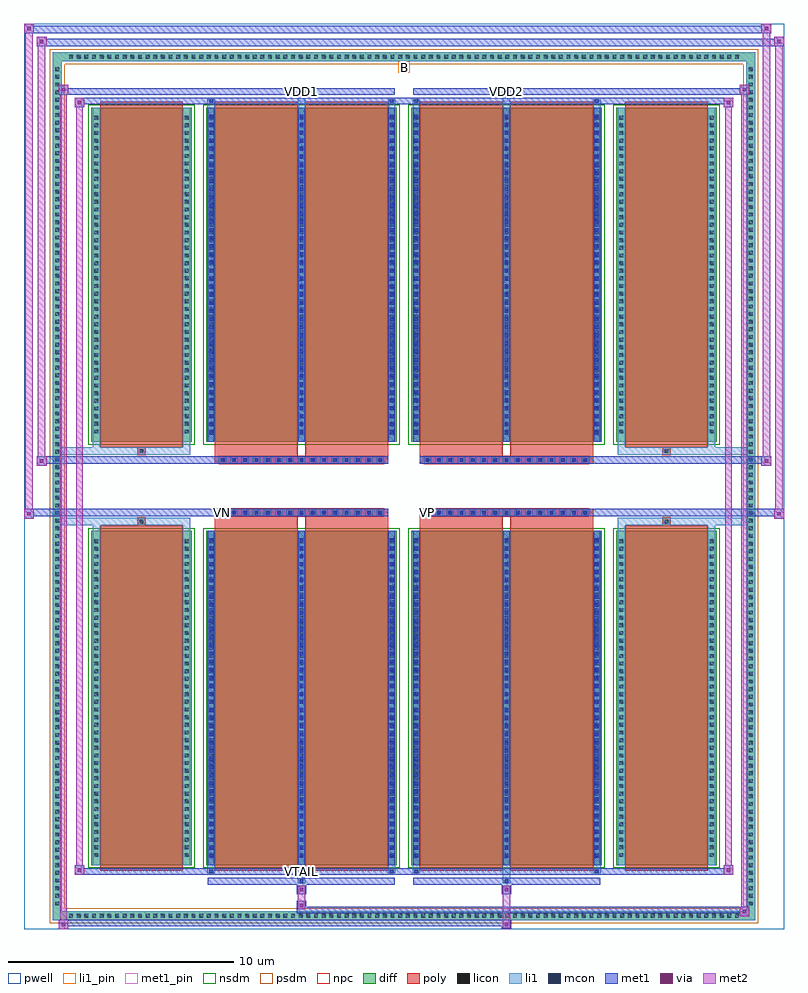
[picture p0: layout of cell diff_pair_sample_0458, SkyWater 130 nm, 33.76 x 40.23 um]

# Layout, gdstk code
import gdstk
lib = gdstk.Library(unit=1e-6, precision=5e-09)
def R(c, l, rs):  # rectangles x0, y0, x1, y1
    for r in rs: c.add(gdstk.rectangle(r[:2], r[2:], *l))
def A(c, l, x, y, w, h, nx, ny, dx, dy):  # array of equal rectangles
    R(c, l, [(x+i*dx, y+j*dy, x+i*dx+w, y+j*dy+h) for i in range(nx) for j in range(ny)])
def P(c, l, *ps):  # polygons
    for p in ps: c.add(gdstk.Polygon(p, *l))
pwell = (64, 44)
diff = (65, 20)
poly = (66, 20)
licon = (66, 44)
li1_pin = (67, 16)
li1 = (67, 20)
mcon = (67, 44)
met1_pin = (68, 16)
met1 = (68, 20)
via = (68, 44)
met2 = (69, 20)
nsdm = (93, 44)
psdm = (94, 20)
npc = (95, 20)

diff_pair_sample_0458 = lib.new_cell('diff_pair_sample_0458')
R(diff_pair_sample_0458, pwell, [(-16.88,-19.68,16.88,20.55), (-14.2,-17.87,-0.01,-0.805), (0.01,-17.87,14.2,-0.805), (-14.2,0.805,-0.01,17.87), (0.01,0.805,14.2,17.87)])
A(diff_pair_sample_0458, diff, -14.995, -19.28, 0.41, 0.41, 88, 2, 0.34, 38.15)
A(diff_pair_sample_0458, diff, -15.61, -18.735, 0.41, 0.41, 1, 110, 0, 0.34)
A(diff_pair_sample_0458, diff, 15.2, -18.735, 0.41, 0.41, 1, 110, 0, 0.34)
R(diff_pair_sample_0458, diff, [(-14.995,-19.28,14.995,-18.87), (-15.61,-18.735,-15.2,18.735), (15.2,-18.735,15.61,18.735), (-13.89,-16.825,-9.43,-1.985), (-8.79,-16.825,-0.32,-1.985), (0.32,-16.825,8.79,-1.985), (9.43,-16.825,13.89,-1.985), (-13.89,1.985,-9.43,16.825), (-8.79,1.985,-0.32,16.825), (0.32,1.985,8.79,16.825), (9.43,1.985,13.89,16.825), (-14.995,18.87,14.995,19.28)])
P(diff_pair_sample_0458, diff, [(15.61,19.28),(-15.61,19.28),(-15.61,-18.87),(-15.2,-18.87),(-15.2,18.87),(15.2,18.87),(15.2,-18.87),(-15.2,-18.87),(-15.61,-18.87),(-15.61,-19.28),(15.61,-19.28)])
A(diff_pair_sample_0458, poly, -8.22, -1.335, 0.33, 0.33, 15, 2, 0.5, 2.34)
A(diff_pair_sample_0458, poly, 0.89, -1.335, 0.33, 0.33, 15, 2, 0.5, 2.34)
R(diff_pair_sample_0458, poly, [(-13.5,-17.075,-9.82,-1.735), (-8.4,-17.075,-4.72,-1.735), (-4.39,-17.075,-0.71,-1.735), (0.71,-17.075,4.39,-1.735), (4.72,-17.075,8.4,-1.735), (9.82,-17.075,13.5,-1.735), (-11.825,-1.735,-11.495,-1.405), (-11.825,-1.735,-11.495,-1.405), (-8.4,-1.735,-4.72,-1.335), (-4.39,-1.735,-0.71,-1.335), (0.71,-1.735,4.39,-1.335), (4.72,-1.735,8.4,-1.335), (11.495,-1.735,11.825,-1.405), (11.495,-1.735,11.825,-1.405), (-8.4,-1.335,-0.71,-1.005), (0.71,-1.335,8.4,-1.005), (-8.4,1.005,-0.71,1.335), (0.71,1.005,8.4,1.335), (-8.4,1.335,-4.72,1.735), (-4.39,1.335,-0.71,1.735), (0.71,1.335,4.39,1.735), (4.72,1.335,8.4,1.735), (-11.825,1.405,-11.495,1.735), (-11.825,1.405,-11.495,1.735), (11.495,1.405,11.825,1.735), (11.495,1.405,11.825,1.735), (-13.5,1.735,-9.82,17.075), (-8.4,1.735,-4.72,17.075), (-4.39,1.735,-0.71,17.075), (0.71,1.735,4.39,17.075), (4.72,1.735,8.4,17.075), (9.82,1.735,13.5,17.075)])
A(diff_pair_sample_0458, licon, -14.875, -19.16, 0.17, 0.17, 88, 2, 0.34, 38.15)
A(diff_pair_sample_0458, licon, -15.49, -18.615, 0.17, 0.17, 1, 110, 0, 0.34)
A(diff_pair_sample_0458, licon, 15.32, -18.615, 0.17, 0.17, 1, 110, 0, 0.34)
A(diff_pair_sample_0458, licon, -13.75, -16.46, 0.17, 0.17, 1, 42, 0, 0.34)
A(diff_pair_sample_0458, licon, -9.74, -16.46, 0.17, 0.17, 1, 42, 0, 0.34)
A(diff_pair_sample_0458, licon, -8.65, -16.46, 0.17, 0.17, 3, 42, 4.01, 0.34)
A(diff_pair_sample_0458, licon, 0.46, -16.46, 0.17, 0.17, 3, 42, 4.01, 0.34)
A(diff_pair_sample_0458, licon, 9.57, -16.46, 0.17, 0.17, 1, 42, 0, 0.34)
A(diff_pair_sample_0458, licon, 13.58, -16.46, 0.17, 0.17, 1, 42, 0, 0.34)
A(diff_pair_sample_0458, licon, -8.14, -1.255, 0.17, 0.17, 15, 2, 0.5, 2.34)
A(diff_pair_sample_0458, licon, 0.97, -1.255, 0.17, 0.17, 15, 2, 0.5, 2.34)
A(diff_pair_sample_0458, licon, -13.75, 2.35, 0.17, 0.17, 1, 42, 0, 0.34)
A(diff_pair_sample_0458, licon, -9.74, 2.35, 0.17, 0.17, 1, 42, 0, 0.34)
A(diff_pair_sample_0458, licon, -8.65, 2.35, 0.17, 0.17, 3, 42, 4.01, 0.34)
A(diff_pair_sample_0458, licon, 0.46, 2.35, 0.17, 0.17, 3, 42, 4.01, 0.34)
A(diff_pair_sample_0458, licon, 9.57, 2.35, 0.17, 0.17, 1, 42, 0, 0.34)
A(diff_pair_sample_0458, licon, 13.58, 2.35, 0.17, 0.17, 1, 42, 0, 0.34)
R(diff_pair_sample_0458, licon, [(-11.745,-1.655,-11.575,-1.485), (11.575,-1.655,11.745,-1.485), (-11.745,1.485,-11.575,1.655), (11.575,1.485,11.745,1.655)])
R(diff_pair_sample_0458, li1_pin, [(-0.25,18.37,0.25,18.87)])
A(diff_pair_sample_0458, li1, -14.955, -19.24, 0.33, 0.33, 88, 2, 0.34, 38.15)
A(diff_pair_sample_0458, li1, -15.57, -18.695, 0.33, 0.33, 1, 110, 0, 0.34)
A(diff_pair_sample_0458, li1, 15.24, -18.695, 0.33, 0.33, 1, 110, 0, 0.34)
A(diff_pair_sample_0458, li1, -8.73, -16.825, 0.33, 14.84, 3, 2, 4.01, 18.81)
A(diff_pair_sample_0458, li1, 0.38, -16.825, 0.33, 14.84, 3, 2, 4.01, 18.81)
A(diff_pair_sample_0458, li1, -13.83, -16.54, 0.33, 0.33, 1, 42, 0, 0.34)
A(diff_pair_sample_0458, li1, -9.82, -16.54, 0.33, 0.33, 1, 42, 0, 0.34)
A(diff_pair_sample_0458, li1, -8.73, -16.54, 0.33, 0.33, 3, 42, 4.01, 0.34)
A(diff_pair_sample_0458, li1, 0.38, -16.54, 0.33, 0.33, 3, 42, 4.01, 0.34)
A(diff_pair_sample_0458, li1, 9.49, -16.54, 0.33, 0.33, 1, 42, 0, 0.34)
A(diff_pair_sample_0458, li1, 13.5, -16.54, 0.33, 0.33, 1, 42, 0, 0.34)
A(diff_pair_sample_0458, li1, -8.65, -16.51, 0.17, 0.17, 3, 40, 4.01, 0.36)
A(diff_pair_sample_0458, li1, -8.65, -16.51, 0.17, 14.21, 3, 2, 4.01, 18.81)
A(diff_pair_sample_0458, li1, 0.46, -16.51, 0.17, 0.17, 3, 40, 4.01, 0.36)
A(diff_pair_sample_0458, li1, 0.46, -16.51, 0.17, 14.21, 3, 2, 4.01, 18.81)
A(diff_pair_sample_0458, li1, -8.22, -1.335, 0.33, 0.33, 15, 2, 0.5, 2.34)
A(diff_pair_sample_0458, li1, 0.89, -1.335, 0.33, 0.33, 15, 2, 0.5, 2.34)
A(diff_pair_sample_0458, li1, -13.83, 2.27, 0.33, 0.33, 1, 42, 0, 0.34)
A(diff_pair_sample_0458, li1, -9.82, 2.27, 0.33, 0.33, 1, 42, 0, 0.34)
A(diff_pair_sample_0458, li1, -8.73, 2.27, 0.33, 0.33, 3, 42, 4.01, 0.34)
A(diff_pair_sample_0458, li1, 0.38, 2.27, 0.33, 0.33, 3, 42, 4.01, 0.34)
A(diff_pair_sample_0458, li1, 9.49, 2.27, 0.33, 0.33, 1, 42, 0, 0.34)
A(diff_pair_sample_0458, li1, 13.5, 2.27, 0.33, 0.33, 1, 42, 0, 0.34)
A(diff_pair_sample_0458, li1, -8.65, 2.3, 0.17, 0.17, 3, 40, 4.01, 0.36)
A(diff_pair_sample_0458, li1, 0.46, 2.3, 0.17, 0.17, 3, 40, 4.01, 0.36)
R(diff_pair_sample_0458, li1, [(-15.61,-19.28,-15.2,-18.87), (-15.61,-19.28,-15.2,-18.87), (-15.2,-19.28,15.2,-18.87), (15.2,-19.28,15.61,-18.87), (15.2,-19.28,15.61,-18.87), (-15.61,-18.87,-15.2,18.87), (15.2,-18.87,15.61,18.87), (-4.72,-17.63,-4.39,-16.825), (-4.64,-17.63,-4.47,-17.46), (4.39,-17.63,4.72,-16.825), (4.47,-17.63,4.64,-17.46), (-8.73,-17.2,-8.4,-16.825), (-8.65,-17.2,-8.48,-17.03), (-0.71,-17.2,-0.38,-16.825), (-0.63,-17.2,-0.46,-17.03), (0.38,-17.2,0.71,-16.825), (0.46,-17.2,0.63,-17.03), (8.4,-17.2,8.73,-16.825), (8.48,-17.2,8.65,-17.03), (-13.83,-16.825,-13.5,-1.985), (-9.82,-16.825,-9.49,-1.985), (9.49,-16.825,9.82,-1.985), (13.5,-16.825,13.83,-1.985), (-13.83,-1.985,-13.5,-1.405), (-9.82,-1.985,-9.49,-1.405), (9.49,-1.985,9.82,-1.405), (13.5,-1.985,13.83,-1.405), (-15.61,-1.735,-11.825,-1.405), (-13.83,-1.735,-11.825,-1.405), (-11.825,-1.735,-11.495,-1.405), (-11.495,-1.735,-9.49,-1.405), (9.49,-1.735,11.495,-1.405), (11.495,-1.735,11.825,-1.405), (11.495,-1.735,15.61,-1.405), (11.825,-1.735,13.83,-1.405), (-15.61,1.405,-11.825,1.735), (-13.83,1.405,-11.825,1.735), (-13.83,1.405,-13.5,1.985), (-11.825,1.405,-11.495,1.735), (-11.495,1.405,-9.49,1.735), (-9.82,1.405,-9.49,1.985), (9.49,1.405,11.495,1.735), (9.49,1.405,9.82,1.985), (11.495,1.405,11.825,1.735), (11.495,1.405,15.61,1.735), (11.825,1.405,13.83,1.735), (13.5,1.405,13.83,1.985), (-13.83,1.985,-13.5,16.825), (-9.82,1.985,-9.49,16.825), (9.49,1.985,9.82,16.825), (13.5,1.985,13.83,16.825), (-8.73,16.825,-8.4,17.2), (-4.72,16.825,-4.39,17.63), (-0.71,16.825,-0.38,17.2), (0.38,16.825,0.71,17.2), (4.39,16.825,4.72,17.63), (8.4,16.825,8.73,17.2), (-8.65,17.03,-8.48,17.2), (-0.63,17.03,-0.46,17.2), (0.46,17.03,0.63,17.2), (8.48,17.03,8.65,17.2), (-4.64,17.46,-4.47,17.63), (4.47,17.46,4.64,17.63), (-15.61,18.87,-15.2,19.28), (-15.61,18.87,-15.2,19.28), (-15.2,18.87,15.2,19.28), (15.2,18.87,15.61,19.28), (15.2,18.87,15.61,19.28)])
A(diff_pair_sample_0458, mcon, -8.65, -16.51, 0.17, 0.17, 3, 40, 4.01, 0.36)
A(diff_pair_sample_0458, mcon, 0.46, -16.51, 0.17, 0.17, 3, 40, 4.01, 0.36)
A(diff_pair_sample_0458, mcon, -8.14, -1.255, 0.17, 0.17, 15, 2, 0.5, 2.34)
A(diff_pair_sample_0458, mcon, 0.97, -1.255, 0.17, 0.17, 15, 2, 0.5, 2.34)
A(diff_pair_sample_0458, mcon, -8.65, 2.3, 0.17, 0.17, 3, 40, 4.01, 0.36)
A(diff_pair_sample_0458, mcon, 0.46, 2.3, 0.17, 0.17, 3, 40, 4.01, 0.36)
R(diff_pair_sample_0458, mcon, [(-4.64,-17.63,-4.47,-17.46), (4.47,-17.63,4.64,-17.46), (-8.65,-17.2,-8.48,-17.03), (-0.63,-17.2,-0.46,-17.03), (0.46,-17.2,0.63,-17.03), (8.48,-17.2,8.65,-17.03), (-8.65,17.03,-8.48,17.2), (-0.63,17.03,-0.46,17.2), (0.46,17.03,0.63,17.2), (8.48,17.03,8.65,17.2), (-4.64,17.46,-4.47,17.63), (4.47,17.46,4.64,17.63)])
R(diff_pair_sample_0458, met1_pin, [(-4.69,-17.24,-4.42,-16.97), (-8.19,-1.295,-7.92,-1.025), (0.92,-1.295,1.19,-1.025), (-4.69,17.42,-4.42,17.69), (4.42,17.42,4.69,17.69)])
A(diff_pair_sample_0458, met1, -8.71, -16.825, 0.29, 14.84, 3, 2, 4.01, 18.81)
A(diff_pair_sample_0458, met1, 0.4, -16.825, 0.29, 14.84, 3, 2, 4.01, 18.81)
A(diff_pair_sample_0458, met1, -8.71, -16.57, 0.29, 0.29, 3, 40, 4.01, 0.36)
A(diff_pair_sample_0458, met1, 0.4, -16.57, 0.29, 0.29, 3, 40, 4.01, 0.36)
A(diff_pair_sample_0458, met1, -8.2, -1.315, 0.29, 0.29, 15, 2, 0.5, 2.34)
A(diff_pair_sample_0458, met1, 0.91, -1.315, 0.29, 0.29, 15, 2, 0.5, 2.34)
A(diff_pair_sample_0458, met1, -8.71, 2.24, 0.29, 0.29, 3, 40, 4.01, 0.36)
A(diff_pair_sample_0458, met1, 0.4, 2.24, 0.29, 0.29, 3, 40, 4.01, 0.36)
R(diff_pair_sample_0458, met1, [(-15.34,-19.68,-14.91,-19.25), (4.34,-19.68,4.77,-19.25), (-15.34,-19.54,4.77,-19.25), (14.91,-19.11,15.34,-18.68), (-4.77,-18.97,15.34,-18.68), (-4.77,-18.83,-4.34,-18.4), (-4.77,-18.12,-4.34,-17.69), (4.34,-18.12,4.77,-17.69), (-8.71,-17.69,-0.4,-17.4), (-4.7,-17.69,-4.41,-17.4), (0.4,-17.69,8.71,-17.4), (4.41,-17.69,4.7,-17.4), (-14.63,-17.26,-14.2,-16.83), (-14.63,-17.26,-8.71,-16.97), (-8.71,-17.26,-8.42,-16.97), (-8.71,-17.26,-0.4,-16.97), (-0.69,-17.26,-0.4,-16.97), (-0.4,-17.26,0.4,-16.97), (0.4,-17.26,0.69,-16.97), (0.4,-17.26,8.71,-16.97), (8.42,-17.26,8.71,-16.97), (8.71,-17.26,14.63,-16.97), (14.2,-17.26,14.63,-16.83), (-16.88,-1.435,-16.45,-1.005), (16.45,-1.435,16.88,-1.005), (-16.88,-1.335,-0.71,-1.005), (-8.4,-1.335,-0.71,-1.005), (0.71,-1.335,8.4,-1.005), (0.71,-1.335,16.88,-1.005), (-16.31,0.905,-15.88,1.335), (15.88,0.905,16.31,1.335), (-16.31,1.005,-8.4,1.335), (-8.4,1.005,-0.71,1.335), (0.71,1.005,8.4,1.335), (8.4,1.005,16.31,1.335), (-14.63,16.83,-14.2,17.26), (14.2,16.83,14.63,17.26), (-14.63,16.97,-8.71,17.26), (-8.71,16.97,-8.42,17.26), (-8.71,16.97,-0.4,17.26), (-0.69,16.97,-0.4,17.26), (-0.4,16.97,0.4,17.26), (0.4,16.97,0.69,17.26), (0.4,16.97,8.71,17.26), (8.42,16.97,8.71,17.26), (8.71,16.97,14.63,17.26), (-15.34,17.4,-14.91,17.83), (-15.34,17.4,-8.71,17.69), (-8.71,17.4,-0.4,17.69), (-4.7,17.4,-4.41,17.69), (0.4,17.4,8.71,17.69), (4.41,17.4,4.7,17.69), (8.71,17.4,15.34,17.69), (14.91,17.4,15.34,17.83), (-16.31,19.55,-15.88,19.98), (-16.31,19.55,-14.2,19.88), (-14.2,19.55,14.2,19.88), (14.2,19.55,16.88,19.88), (16.45,19.55,16.88,19.98), (-16.88,20.12,-16.45,20.55), (-16.88,20.12,-14.2,20.45), (-14.2,20.12,14.2,20.45), (14.2,20.12,16.31,20.45), (15.88,20.12,16.31,20.55)])
R(diff_pair_sample_0458, via, [(-15.2,-19.54,-15.05,-19.39), (4.48,-19.54,4.63,-19.39), (15.05,-18.97,15.2,-18.82), (-4.63,-18.69,-4.48,-18.54), (-4.63,-17.98,-4.48,-17.83), (4.48,-17.98,4.63,-17.83), (-14.49,-17.12,-14.34,-16.97), (14.34,-17.12,14.49,-16.97), (-16.74,-1.295,-16.59,-1.145), (16.59,-1.295,16.74,-1.145), (-16.17,1.045,-16.02,1.195), (16.02,1.045,16.17,1.195), (-14.49,16.97,-14.34,17.12), (14.34,16.97,14.49,17.12), (-15.2,17.54,-15.05,17.69), (15.05,17.54,15.2,17.69), (-16.17,19.69,-16.02,19.84), (16.59,19.69,16.74,19.84), (-16.74,20.26,-16.59,20.41), (16.02,20.26,16.17,20.41)])
R(diff_pair_sample_0458, met2, [(-15.34,-19.68,-14.91,-19.25), (-15.27,-19.68,-14.98,17.83), (-14.98,-19.68,-14.91,-19.25), (-15.29,-19.63,-14.96,-19.3), (4.39,-19.63,4.72,-19.3), (4.39,-19.3,4.72,-18.07), (14.91,-19.11,15.34,-18.68), (14.98,-19.11,15.27,17.83), (15.27,-19.11,15.34,-18.68), (14.96,-19.06,15.29,-18.73), (-4.72,-18.78,-4.39,-18.45), (-4.72,-18.45,-4.39,-18.07), (-4.72,-18.07,-4.39,-17.74), (4.39,-18.07,4.72,-17.74), (-14.63,-17.26,-14.2,-16.83), (-14.56,-17.26,-14.27,17.26), (-14.27,-17.26,-14.2,-16.83), (14.2,-17.26,14.63,-16.83), (14.27,-17.26,14.56,17.26), (14.56,-17.26,14.63,-16.83), (-14.58,-17.21,-14.25,-16.88), (14.25,-17.21,14.58,-16.88), (-16.88,-1.435,-16.45,-1.005), (-16.83,-1.435,-16.5,20.55), (-16.5,-1.435,-16.45,-1.005), (16.45,-1.435,16.88,-1.005), (16.5,-1.435,16.83,19.98), (16.83,-1.435,16.88,-1.005), (-16.83,-1.385,-16.5,-1.055), (16.5,-1.385,16.83,-1.055), (-16.31,0.905,-15.88,1.335), (-16.26,0.905,-15.93,19.98), (-15.93,0.905,-15.88,1.335), (15.88,0.905,16.31,1.335), (15.93,0.905,16.26,20.55), (16.26,0.905,16.31,1.335), (-16.26,0.955,-15.93,1.285), (15.93,0.955,16.26,1.285), (-14.63,16.83,-14.2,17.26), (-14.27,16.83,-14.2,17.26), (14.2,16.83,14.63,17.26), (14.56,16.83,14.63,17.26), (-14.58,16.88,-14.25,17.21), (14.25,16.88,14.58,17.21), (-15.34,17.4,-14.91,17.83), (-14.98,17.4,-14.91,17.83), (14.91,17.4,15.34,17.83), (15.27,17.4,15.34,17.83), (-15.29,17.45,-14.96,17.78), (14.96,17.45,15.29,17.78), (-16.31,19.55,-15.88,19.98), (-15.93,19.55,-15.88,19.98), (16.45,19.55,16.88,19.98), (16.83,19.55,16.88,19.98), (-16.26,19.6,-15.93,19.93), (16.5,19.6,16.83,19.93), (-16.88,20.12,-16.45,20.55), (-16.5,20.12,-16.45,20.55), (15.88,20.12,16.31,20.55), (16.26,20.12,16.31,20.55), (-16.83,20.17,-16.5,20.5), (15.93,20.17,16.26,20.5)])
R(diff_pair_sample_0458, nsdm, [(-14.02,-16.955,-9.3,-1.855), (-8.92,-16.955,-0.19,-1.855), (0.19,-16.955,8.92,-1.855), (9.3,-16.955,14.02,-1.855), (-14.02,1.855,-9.3,16.955), (-8.92,1.855,-0.19,16.955), (0.19,1.855,8.92,16.955), (9.3,1.855,14.02,16.955)])
P(diff_pair_sample_0458, psdm, [(15.74,19.41),(-15.74,19.41),(-15.74,-18.74),(-15.07,-18.74),(-15.07,18.74),(15.07,18.74),(15.07,-18.74),(-15.07,-18.74),(-15.74,-18.74),(-15.74,-19.41),(15.74,-19.41)])
A(diff_pair_sample_0458, npc, -8.24, -1.355, 0.37, 0.37, 15, 2, 0.5, 2.34)
A(diff_pair_sample_0458, npc, 0.87, -1.355, 0.37, 0.37, 15, 2, 0.5, 2.34)
R(diff_pair_sample_0458, npc, [(-11.845,-1.755,-11.475,-1.385), (11.475,-1.755,11.845,-1.385), (-8.24,-1.355,-7.37,-0.985), (-8.24,-1.355,-7.37,-0.985), (-7.74,-1.355,-6.87,-0.985), (-7.74,-1.355,-6.87,-0.985), (-7.24,-1.355,-6.37,-0.985), (-7.24,-1.355,-6.37,-0.985), (-6.74,-1.355,-5.87,-0.985), (-6.74,-1.355,-5.87,-0.985), (-6.24,-1.355,-5.37,-0.985), (-6.24,-1.355,-5.37,-0.985), (-5.74,-1.355,-4.87,-0.985), (-5.74,-1.355,-4.87,-0.985), (-5.24,-1.355,-4.37,-0.985), (-5.24,-1.355,-4.37,-0.985), (-4.74,-1.355,-3.87,-0.985), (-4.74,-1.355,-3.87,-0.985), (-4.24,-1.355,-3.37,-0.985), (-4.24,-1.355,-3.37,-0.985), (-3.74,-1.355,-2.87,-0.985), (-3.74,-1.355,-2.87,-0.985), (-3.24,-1.355,-2.37,-0.985), (-3.24,-1.355,-2.37,-0.985), (-2.74,-1.355,-1.87,-0.985), (-2.74,-1.355,-1.87,-0.985), (-2.24,-1.355,-1.37,-0.985), (-2.24,-1.355,-1.37,-0.985), (-1.74,-1.355,-0.87,-0.985), (-1.74,-1.355,-0.87,-0.985), (0.87,-1.355,1.74,-0.985), (0.87,-1.355,1.74,-0.985), (1.37,-1.355,2.24,-0.985), (1.37,-1.355,2.24,-0.985), (1.87,-1.355,2.74,-0.985), (1.87,-1.355,2.74,-0.985), (2.37,-1.355,3.24,-0.985), (2.37,-1.355,3.24,-0.985), (2.87,-1.355,3.74,-0.985), (2.87,-1.355,3.74,-0.985), (3.37,-1.355,4.24,-0.985), (3.37,-1.355,4.24,-0.985), (3.87,-1.355,4.74,-0.985), (3.87,-1.355,4.74,-0.985), (4.37,-1.355,5.24,-0.985), (4.37,-1.355,5.24,-0.985), (4.87,-1.355,5.74,-0.985), (4.87,-1.355,5.74,-0.985), (5.37,-1.355,6.24,-0.985), (5.37,-1.355,6.24,-0.985), (5.87,-1.355,6.74,-0.985), (5.87,-1.355,6.74,-0.985), (6.37,-1.355,7.24,-0.985), (6.37,-1.355,7.24,-0.985), (6.87,-1.355,7.74,-0.985), (6.87,-1.355,7.74,-0.985), (7.37,-1.355,8.24,-0.985), (7.37,-1.355,8.24,-0.985), (-8.24,0.985,-7.37,1.355), (-8.24,0.985,-7.37,1.355), (-7.74,0.985,-6.87,1.355), (-7.74,0.985,-6.87,1.355), (-7.24,0.985,-6.37,1.355), (-7.24,0.985,-6.37,1.355), (-6.74,0.985,-5.87,1.355), (-6.74,0.985,-5.87,1.355), (-6.24,0.985,-5.37,1.355), (-6.24,0.985,-5.37,1.355), (-5.74,0.985,-4.87,1.355), (-5.74,0.985,-4.87,1.355), (-5.24,0.985,-4.37,1.355), (-5.24,0.985,-4.37,1.355), (-4.74,0.985,-3.87,1.355), (-4.74,0.985,-3.87,1.355), (-4.24,0.985,-3.37,1.355), (-4.24,0.985,-3.37,1.355), (-3.74,0.985,-2.87,1.355), (-3.74,0.985,-2.87,1.355), (-3.24,0.985,-2.37,1.355), (-3.24,0.985,-2.37,1.355), (-2.74,0.985,-1.87,1.355), (-2.74,0.985,-1.87,1.355), (-2.24,0.985,-1.37,1.355), (-2.24,0.985,-1.37,1.355), (-1.74,0.985,-0.87,1.355), (-1.74,0.985,-0.87,1.355), (0.87,0.985,1.74,1.355), (0.87,0.985,1.74,1.355), (1.37,0.985,2.24,1.355), (1.37,0.985,2.24,1.355), (1.87,0.985,2.74,1.355), (1.87,0.985,2.74,1.355), (2.37,0.985,3.24,1.355), (2.37,0.985,3.24,1.355), (2.87,0.985,3.74,1.355), (2.87,0.985,3.74,1.355), (3.37,0.985,4.24,1.355), (3.37,0.985,4.24,1.355), (3.87,0.985,4.74,1.355), (3.87,0.985,4.74,1.355), (4.37,0.985,5.24,1.355), (4.37,0.985,5.24,1.355), (4.87,0.985,5.74,1.355), (4.87,0.985,5.74,1.355), (5.37,0.985,6.24,1.355), (5.37,0.985,6.24,1.355), (5.87,0.985,6.74,1.355), (5.87,0.985,6.74,1.355), (6.37,0.985,7.24,1.355), (6.37,0.985,7.24,1.355), (6.87,0.985,7.74,1.355), (6.87,0.985,7.74,1.355), (7.37,0.985,8.24,1.355), (7.37,0.985,8.24,1.355), (-11.845,1.385,-11.475,1.755), (11.475,1.385,11.845,1.755)])
diff_pair_sample_0458.add(gdstk.Label('VTAIL', (-4.555,-17.105), layer=68, texttype=5))
diff_pair_sample_0458.add(gdstk.Label('VN', (-8.055,-1.16), layer=68, texttype=5))
diff_pair_sample_0458.add(gdstk.Label('VP', (1.055,-1.16), layer=68, texttype=5))
diff_pair_sample_0458.add(gdstk.Label('B', (0,18.62), layer=67, texttype=5))
diff_pair_sample_0458.add(gdstk.Label('VDD2', (4.555,17.555), layer=68, texttype=5))
diff_pair_sample_0458.add(gdstk.Label('VDD1', (-4.555,17.555), layer=68, texttype=5))

lib.write_gds('diff_pair_sample_0458.gds')
